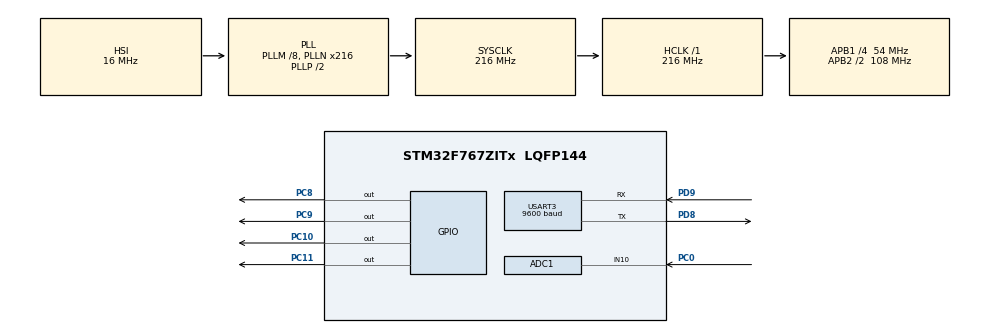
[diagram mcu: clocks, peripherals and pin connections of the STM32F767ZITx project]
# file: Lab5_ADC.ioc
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ADC1.Channel-0\#ChannelRegularConversion=ADC_CHANNEL_10
ADC1.ClockPrescaler=ADC_CLOCK_SYNC_PCLK_DIV4
ADC1.ContinuousConvMode=ENABLE
ADC1.EOCSelection=ADC_EOC_SEQ_CONV
ADC1.NbrOfConversionFlag=1
ADC1.Rank-0\#ChannelRegularConversion=1
ADC1.SamplingTime-0\#ChannelRegularConversion=ADC_SAMPLETIME_3CYCLES
ADC1.master=1
Mcu.Family=STM32F7
Mcu.Name=STM32F767ZITx
Mcu.Package=LQFP144
NVIC.PriorityGroup=NVIC_PRIORITYGROUP_4
PC0.Signal=ADCx_IN10
PC10.Signal=GPIO_Output
PC11.Signal=GPIO_Output
PC8.Signal=GPIO_Output
PC9.Signal=GPIO_Output
PD8.Mode=Asynchronous
PD8.Signal=USART3_TX
PD9.Mode=Asynchronous
PD9.Signal=USART3_RX
ProjectManager.HeapSize=0x200
ProjectManager.StackSize=0x400
ProjectManager.TargetToolchain=MDK-ARM V5
RCC.AHBFreq_Value=216000000
RCC.APB1CLKDivider=RCC_HCLK_DIV4
RCC.APB1Freq_Value=54000000
RCC.APB1TimFreq_Value=108000000
RCC.APB2CLKDivider=RCC_HCLK_DIV2
RCC.APB2Freq_Value=108000000
RCC.APB2TimFreq_Value=216000000
RCC.CortexFreq_Value=216000000
RCC.HCLKFreq_Value=216000000
RCC.HSE_VALUE=25000000
RCC.HSI_VALUE=16000000
RCC.LSE_VALUE=32768
RCC.PLLM=8
RCC.PLLN=216
RCC.SYSCLKFreq_VALUE=216000000
RCC.SYSCLKSource=RCC_SYSCLKSOURCE_PLLCLK
RCC.USBFreq_Value=216000000
RCC.VCOOutputFreq_Value=432000000
SH.ADCx_IN10.0=ADC1_IN10,IN10
USART3.BaudRate=9600
USART3.VirtualMode-Asynchronous=VM_ASYNC
board=custom

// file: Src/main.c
/* USER CODE BEGIN Header */
/**
  ******************************************************************************
  * @file           : main.c
  * @brief          : Main program body
  ******************************************************************************
  * @attention
  *
  * <h2><center>&copy; Copyright (c) 2019 STMicroelectronics.
  * All rights reserved.</center></h2>
  *
  * This software component is licensed by ST under BSD 3-Clause license,
  * the "License"; You may not use this file except in compliance with the
  * License. You may obtain a copy of the License at:
  *                        opensource.org/licenses/BSD-3-Clause
  *
  ******************************************************************************
  */
/* USER CODE END Header */

#include "main.h"
#include "adc.h"
#include "usart.h"
#include "gpio.h"

/* USER CODE BEGIN Includes */
#include "stdio.h"
/* USER CODE END Includes */

/* USER CODE BEGIN PV */
volatile uint32_t adc_val =0;
/* USER CODE END PV */

void SystemClock_Config(void);

/* USER CODE BEGIN 0 */
void displayHEX(uint32_t);
/* USER CODE END 0 */

int main(void)
{

  /* MCU Configuration--------------------------------------------------------*/

  /* Reset of all peripherals, Initializes the Flash interface and the Systick. */
  HAL_Init();

  /* Configure the system clock */
  SystemClock_Config();

  /* Initialize all configured peripherals */
  MX_GPIO_Init();
  MX_ADC1_Init();
  MX_USART3_UART_Init();
  /* USER CODE BEGIN 2 */
	HAL_ADC_Start(&hadc1);
  /* USER CODE END 2 */

  /* Infinite loop */
  while (1)
  {

    /* USER CODE BEGIN 3 */
		//uint32_t hex1 = 501;
		while( HAL_ADC_PollForConversion(&hadc1, 100) != HAL_OK ){};
		adc_val = HAL_ADC_GetValue(&hadc1);
		if(adc_val >= 0xfff*4/5){
			GPIOC->BSRR = 0xf000000;
			GPIOC->BSRR = 0xf00;
		}
		else if(adc_val >= 0xfff*3/5){
			GPIOC->BSRR = 0xf000000;
			GPIOC->BSRR = 0x700;
		}
		else if(adc_val >= 0xfff*2/5){
			GPIOC->BSRR = 0xf000000;
			GPIOC->BSRR = 0x300;
		}
		else if(adc_val >= 0xfff/5){
			GPIOC->BSRR = 0xf000000;
			GPIOC->BSRR = 0x100;
		}
		else{
			GPIOC->BSRR = 0xf000000;
			GPIOC->BSRR = 0x000;
		}

		displayHEX(adc_val);
  }
  /* USER CODE END 3 */
}

void SystemClock_Config(void)
{
  RCC_OscInitTypeDef RCC_OscInitStruct = {0};
  RCC_ClkInitTypeDef RCC_ClkInitStruct = {0};
  RCC_PeriphCLKInitTypeDef PeriphClkInitStruct = {0};

  /** Configure the main internal regulator output voltage
  */
  __HAL_RCC_PWR_CLK_ENABLE();
  __HAL_PWR_VOLTAGESCALING_CONFIG(PWR_REGULATOR_VOLTAGE_SCALE1);
  /** Initializes the CPU, AHB and APB busses clocks
  */
  RCC_OscInitStruct.OscillatorType = RCC_OSCILLATORTYPE_HSI;
  RCC_OscInitStruct.HSIState = RCC_HSI_ON;
  RCC_OscInitStruct.HSICalibrationValue = RCC_HSICALIBRATION_DEFAULT;
  RCC_OscInitStruct.PLL.PLLState = RCC_PLL_ON;
  RCC_OscInitStruct.PLL.PLLSource = RCC_PLLSOURCE_HSI;
  RCC_OscInitStruct.PLL.PLLM = 8;
  RCC_OscInitStruct.PLL.PLLN = 216;
  RCC_OscInitStruct.PLL.PLLP = RCC_PLLP_DIV2;
  RCC_OscInitStruct.PLL.PLLQ = 2;
  if (HAL_RCC_OscConfig(&RCC_OscInitStruct) != HAL_OK)
  {
    Error_Handler();
  }
  /** Activate the Over-Drive mode
  */
  if (HAL_PWREx_EnableOverDrive() != HAL_OK)
  {
    Error_Handler();
  }
  /** Initializes the CPU, AHB and APB busses clocks
  */
  RCC_ClkInitStruct.ClockType = RCC_CLOCKTYPE_HCLK|RCC_CLOCKTYPE_SYSCLK
                              |RCC_CLOCKTYPE_PCLK1|RCC_CLOCKTYPE_PCLK2;
  RCC_ClkInitStruct.SYSCLKSource = RCC_SYSCLKSOURCE_PLLCLK;
  RCC_ClkInitStruct.AHBCLKDivider = RCC_SYSCLK_DIV1;
  RCC_ClkInitStruct.APB1CLKDivider = RCC_HCLK_DIV4;
  RCC_ClkInitStruct.APB2CLKDivider = RCC_HCLK_DIV2;

  if (HAL_RCC_ClockConfig(&RCC_ClkInitStruct, FLASH_LATENCY_7) != HAL_OK)
  {
    Error_Handler();
  }
  PeriphClkInitStruct.PeriphClockSelection = RCC_PERIPHCLK_USART3;
  PeriphClkInitStruct.Usart3ClockSelection = RCC_USART3CLKSOURCE_PCLK1;
  if (HAL_RCCEx_PeriphCLKConfig(&PeriphClkInitStruct) != HAL_OK)
  {
    Error_Handler();
  }
}

/* USER CODE BEGIN 4 */
void displayHEX(uint32_t hex){
	char buffer [50];
	sprintf(buffer, "%8.8x", hex);
	while(__HAL_UART_GET_FLAG(&huart3,UART_FLAG_TC)==RESET){}
		HAL_UART_Transmit(&huart3, (uint8_t*) &buffer, 8,1000);
	char ch1[2] = "\n\r";
	while(__HAL_UART_GET_FLAG(&huart3,UART_FLAG_TC)==RESET){}
		HAL_UART_Transmit(&huart3, (uint8_t*) &ch1, 2,1000);
	HAL_Delay(300);
}
/* USER CODE END 4 */

void Error_Handler(void)
{
}

/************************ (C) COPYRIGHT STMicroelectronics *****END OF FILE****/
